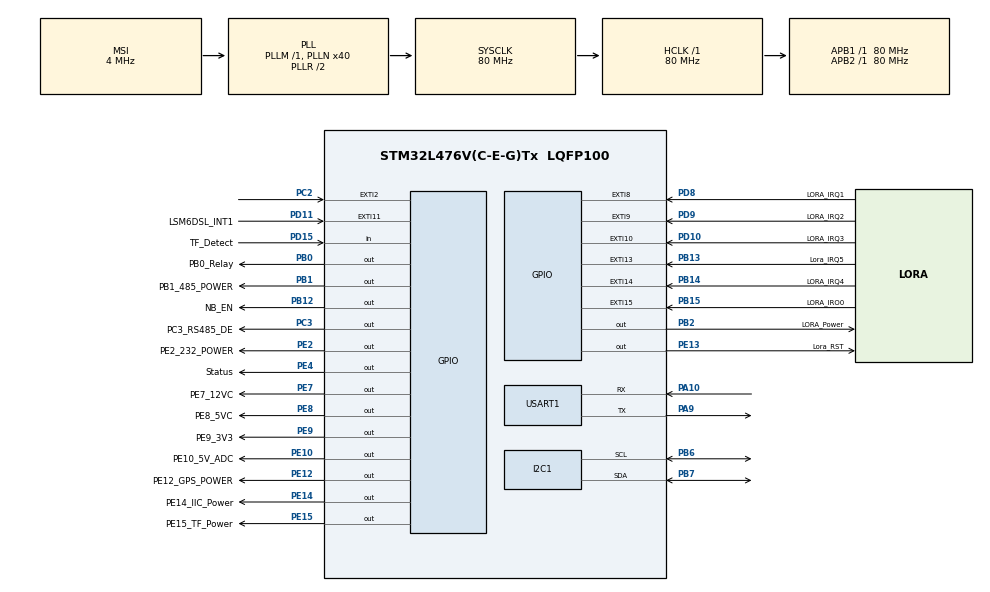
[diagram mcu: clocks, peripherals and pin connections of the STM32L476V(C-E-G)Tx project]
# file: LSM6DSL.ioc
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Mcu.Family=STM32L4
Mcu.Name=STM32L476V(C-E-G)Tx
Mcu.Package=LQFP100
NVIC.PriorityGroup=NVIC_PRIORITYGROUP_4
PA10.Mode=Asynchronous
PA10.Signal=USART1_RX
PA13\ (JTMS-SWDIO).Mode=Serial_Wire
PA13\ (JTMS-SWDIO).Signal=SYS_JTMS-SWDIO
PA14\ (JTCK-SWCLK).Mode=Serial_Wire
PA14\ (JTCK-SWCLK).Signal=SYS_JTCK-SWCLK
PA9.Mode=Asynchronous
PA9.Signal=USART1_TX
PB0.GPIO_Label=PB0_Relay
PB0.Signal=GPIO_Output
PB1.GPIO_Label=PB1_485_POWER
PB1.Signal=GPIO_Output
PB10.Signal=LPUART1_RX
PB11.Signal=LPUART1_TX
PB12.GPIO_Label=NB_EN
PB12.Signal=GPIO_Output
PB13.GPIO_Label=Lora_IRQ5
PB13.Signal=GPXTI13
PB14.GPIO_Label=LORA_IRQ4
PB14.Signal=GPXTI14
PB15.GPIO_Label=LORA_IRO0
PB15.Signal=GPXTI15
PB2.GPIO_Label=LORA_Power
PB2.Signal=GPIO_Output
PB6.Mode=I2C
PB6.Signal=I2C1_SCL
PB7.Mode=I2C
PB7.Signal=I2C1_SDA
PC14-OSC32_IN\ (PC14).Mode=LSE-External-Oscillator
PC14-OSC32_IN\ (PC14).Signal=RCC_OSC32_IN
PC15-OSC32_OUT\ (PC15).Mode=LSE-External-Oscillator
PC15-OSC32_OUT\ (PC15).Signal=RCC_OSC32_OUT
PC2.Signal=GPXTI2
PC3.GPIO_Label=PC3_RS485_DE
PC3.Signal=GPIO_Output
PD10.GPIO_Label=LORA_IRQ3
PD10.Signal=GPXTI10
PD11.GPIO_Label=LSM6DSL_INT1
PD11.Signal=GPXTI11
PD15.GPIO_Label=TF_Detect
PD15.Signal=GPIO_Input
PD8.GPIO_Label=LORA_IRQ1
PD8.Signal=GPXTI8
PD9.GPIO_Label=LORA_IRQ2
PD9.Signal=GPXTI9
PE10.GPIO_Label=PE10_5V_ADC
PE10.Signal=GPIO_Output
PE11.Signal=S_TIM1_CH2
PE12.GPIO_Label=PE12_GPS_POWER
PE12.Signal=GPIO_Output
PE13.GPIO_Label=Lora_RST
PE13.Signal=GPIO_Output
PE14.GPIO_Label=PE14_IIC_Power
PE14.Signal=GPIO_Output
PE15.GPIO_Label=PE15_TF_Power
PE15.Signal=GPIO_Output
PE2.GPIO_Label=PE2_232_POWER
PE2.Signal=GPIO_Output
PE4.GPIO_Label=Status
PE4.Signal=GPIO_Output
PE7.GPIO_Label=PE7_12VC
PE7.Signal=GPIO_Output
PE8.GPIO_Label=PE8_5VC
PE8.Signal=GPIO_Output
PE9.GPIO_Label=PE9_3V3
PE9.Signal=GPIO_Output
PH0-OSC_IN\ (PH0).Mode=HSE-External-Oscillator
PH0-OSC_IN\ (PH0).Signal=RCC_OSC_IN
PH1-OSC_OUT\ (PH1).Mode=HSE-External-Oscillator
PH1-OSC_OUT\ (PH1).Signal=RCC_OSC_OUT
ProjectManager.HeapSize=0x200
ProjectManager.StackSize=0x400
ProjectManager.TargetToolchain=MDK-ARM V5.27
RCC.ADCFreq_Value=48000000
RCC.AHBFreq_Value=80000000
RCC.APB1Freq_Value=80000000
RCC.APB1TimFreq_Value=80000000
RCC.APB2Freq_Value=80000000
RCC.APB2TimFreq_Value=80000000
RCC.CortexFreq_Value=80000000
RCC.HCLKFreq_Value=80000000
RCC.HSE_VALUE=8000000
RCC.HSI_VALUE=16000000
RCC.LPTIM1CLockSelection=RCC_LPTIM1CLKSOURCE_HSI
RCC.LPUART1CLockSelection=RCC_LPUART1CLKSOURCE_LSE
RCC.MSI_VALUE=4000000
RCC.PLLN=40
RCC.PLLSAI1N=24
RCC.RTCClockSelection=RCC_RTCCLKSOURCE_LSE
RCC.SYSCLKFreq_VALUE=80000000
RCC.SYSCLKSource=RCC_SYSCLKSOURCE_PLLCLK
RCC.USBFreq_Value=48000000
RCC.VCOOutputFreq_Value=160000000
SH.S_TIM1_CH2.0=TIM1_CH2
USART1.VirtualMode-Asynchronous=VM_ASYNC
board=custom

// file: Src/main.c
/* USER CODE BEGIN Header */
/**
  ******************************************************************************
  * @file           : main.c
  * @brief          : Main program body
  ******************************************************************************
  * @attention
  *
  * <h2><center>&copy; Copyright (c) 2020 STMicroelectronics.
  * All rights reserved.</center></h2>
  *
  * This software component is licensed by ST under BSD 3-Clause license,
  * the "License"; You may not use this file except in compliance with the
  * License. You may obtain a copy of the License at:
  *                        opensource.org/licenses/BSD-3-Clause
  *
  ******************************************************************************
  */
/* USER CODE END Header */

#include "main.h"

/* USER CODE BEGIN Includes */
#include <stdio.h>
#include <string.h>
#include "lsm6dsl_reg.h"
/* USER CODE END Includes */

I2C_HandleTypeDef hi2c1;

UART_HandleTypeDef huart1;

void SystemClock_Config(void);
static void MX_GPIO_Init(void);
static void MX_I2C1_Init(void);
static void MX_USART1_UART_Init(void);
/* USER CODE BEGIN PFP */
//extern void lsm6dsl_free_fall_detection(void);
extern uint8_t int1_flag;
extern char data_out[256];
extern stmdev_ctx_t dev_ctx;
lsm6dsl_all_sources_t lsm6dsl_all_sources;
void tx_com(uint8_t *tx_buffer, uint16_t len);
static void exti2_config(void);
static void SYSCLKConfig_STOP(void);
void BSP_LED_Init(void);
void power_3V3_ctr(void);
void power_i2c_ctr(void);
void power_232_ctr(void);
/* USER CODE END PFP */

int main(void)
{
  /* USER CODE BEGIN 1 */
	GPIO_InitTypeDef GPIO_InitStructure;
  /* USER CODE END 1 */

  /* MCU Configuration--------------------------------------------------------*/

  /* Reset of all peripherals, Initializes the Flash interface and the Systick. */
  HAL_Init();

  /* Configure the system clock */
  SystemClock_Config();

  /* Initialize all configured peripherals */
//  MX_GPIO_Init();
//  MX_I2C1_Init();
//  MX_USART1_UART_Init();
  /* USER CODE BEGIN 2 */
	MX_GPIO_Init();
//	lsm6dsl_exti_config();
	HAL_Delay(10);

  MX_USART1_UART_Init();
	HAL_GPIO_WritePin(GPIOE, PE2_232_POWER_Pin|PE9_3V3_Pin|PE14_IIC_Power_Pin, GPIO_PIN_SET); //在打开I2C电源和I2C初始化之间必须有延时
	printf("Open the 232 and lsm6dsl power\r\n");
	HAL_Delay(10);
	MX_I2C1_Init();

	example_main();
//	lsm6dsl_free_fall_detection();
	/* (External line 2) will be used to wakeup the system from STOP mode */
	exti2_config();
	/* Enable Power Clock */
  __HAL_RCC_PWR_CLK_ENABLE();

  /* Ensure that MSI is wake-up system clock */
  __HAL_RCC_WAKEUPSTOP_CLK_CONFIG(RCC_STOP_WAKEUPCLOCK_MSI);
  /* USER CODE END 2 */

  /* Infinite loop */
  while (1)
  {

    /* USER CODE BEGIN 3 */
		/* Insert 5 second delay */
    HAL_Delay(5000);
		__HAL_RCC_GPIOA_CLK_ENABLE();
		__HAL_RCC_GPIOB_CLK_ENABLE();
		__HAL_RCC_GPIOD_CLK_ENABLE();
		__HAL_RCC_GPIOE_CLK_ENABLE();
		__HAL_RCC_GPIOH_CLK_ENABLE();

		GPIO_InitStructure.Pin = GPIO_PIN_All;
		GPIO_InitStructure.Mode = GPIO_MODE_ANALOG;
		GPIO_InitStructure.Pull = GPIO_NOPULL;

		HAL_GPIO_Init(GPIOA, &GPIO_InitStructure);
		HAL_GPIO_Init(GPIOB, &GPIO_InitStructure);
		HAL_GPIO_Init(GPIOD, &GPIO_InitStructure);
		HAL_GPIO_Init(GPIOE, &GPIO_InitStructure);
		HAL_GPIO_Init(GPIOH, &GPIO_InitStructure);
		__HAL_RCC_GPIOA_CLK_DISABLE();
		__HAL_RCC_GPIOB_CLK_DISABLE();
		__HAL_RCC_GPIOD_CLK_DISABLE();
		__HAL_RCC_GPIOE_CLK_DISABLE();
		__HAL_RCC_GPIOH_CLK_DISABLE();

		__disable_irq();
		HAL_SuspendTick();
		/* Enter STOP 2 mode */
    HAL_PWREx_EnterSTOP2Mode(PWR_STOPENTRY_WFI);
		 /* ... STOP 2 mode ... */

    /* Re-configure the system clock to 80 MHz based on MSI, enable and
       select PLL as system clock source (PLL is disabled in STOP mode) */

		HAL_ResumeTick();
		SYSCLKConfig_STOP();
		__enable_irq();

		power_3V3_ctr();
		power_i2c_ctr();
		power_232_ctr();

//		HAL_Delay(100);
		HAL_UART_DeInit(&huart1);
		MX_USART1_UART_Init();
		HAL_GPIO_WritePin(GPIOE,PE2_232_POWER_Pin|PE9_3V3_Pin|PE14_IIC_Power_Pin, GPIO_PIN_SET);
		printf("退出Stop mode 2\r\n");
//		MX_I2C1_Init();
  }
  /* USER CODE END 3 */

}

void SystemClock_Config(void)
{
  RCC_OscInitTypeDef RCC_OscInitStruct = {0};
  RCC_ClkInitTypeDef RCC_ClkInitStruct = {0};
  RCC_PeriphCLKInitTypeDef PeriphClkInit = {0};

  /** Configure LSE Drive Capability
//  */
//  HAL_PWR_EnableBkUpAccess();
//  __HAL_RCC_LSEDRIVE_CONFIG(RCC_LSEDRIVE_LOW);
  /** Initializes the CPU, AHB and APB busses clocks
  */
  RCC_OscInitStruct.OscillatorType = RCC_OSCILLATORTYPE_MSI;
//  RCC_OscInitStruct.LSEState = RCC_LSE_ON;
  RCC_OscInitStruct.MSIState = RCC_MSI_ON;
  RCC_OscInitStruct.MSICalibrationValue = RCC_MSICALIBRATION_DEFAULT;
  RCC_OscInitStruct.MSIClockRange = RCC_MSIRANGE_6;
  RCC_OscInitStruct.PLL.PLLState = RCC_PLL_ON;
  RCC_OscInitStruct.PLL.PLLSource = RCC_PLLSOURCE_MSI;
  RCC_OscInitStruct.PLL.PLLM = 1;
  RCC_OscInitStruct.PLL.PLLN = 40;
  RCC_OscInitStruct.PLL.PLLP = RCC_PLLP_DIV7;
  RCC_OscInitStruct.PLL.PLLQ = RCC_PLLQ_DIV2;
  RCC_OscInitStruct.PLL.PLLR = RCC_PLLR_DIV2;
  if (HAL_RCC_OscConfig(&RCC_OscInitStruct) != HAL_OK)
  {
    Error_Handler();
  }
  /** Initializes the CPU, AHB and APB busses clocks
  */
  RCC_ClkInitStruct.ClockType = RCC_CLOCKTYPE_HCLK|RCC_CLOCKTYPE_SYSCLK
                              |RCC_CLOCKTYPE_PCLK1|RCC_CLOCKTYPE_PCLK2;
  RCC_ClkInitStruct.SYSCLKSource = RCC_SYSCLKSOURCE_PLLCLK;
  RCC_ClkInitStruct.AHBCLKDivider = RCC_SYSCLK_DIV1;
  RCC_ClkInitStruct.APB1CLKDivider = RCC_HCLK_DIV1;
  RCC_ClkInitStruct.APB2CLKDivider = RCC_HCLK_DIV1;

  if (HAL_RCC_ClockConfig(&RCC_ClkInitStruct, FLASH_LATENCY_4) != HAL_OK)
  {
    Error_Handler();
  }
//  PeriphClkInit.PeriphClockSelection = RCC_PERIPHCLK_USART1|RCC_PERIPHCLK_I2C1;
//  PeriphClkInit.Usart1ClockSelection = RCC_USART1CLKSOURCE_SYSCLK;   // RCC_USART1CLKSOURCE_PCLK2
//  PeriphClkInit.I2c1ClockSelection = RCC_I2C1CLKSOURCE_PCLK1;
//  if (HAL_RCCEx_PeriphCLKConfig(&PeriphClkInit) != HAL_OK)
//  {
//    Error_Handler();
//  }
//  /** Configure the main internal regulator output voltage
//  */
//  if (HAL_PWREx_ControlVoltageScaling(PWR_REGULATOR_VOLTAGE_SCALE1) != HAL_OK)
//  {
//    Error_Handler();
//  }
//  /** Enable MSI Auto calibration
//  */
//  HAL_RCCEx_EnableMSIPLLMode();
}

static void MX_I2C1_Init(void)
{

  hi2c1.Instance = I2C1;
  hi2c1.Init.Timing = 0x10909CEC;
  hi2c1.Init.OwnAddress1 = 0;
  hi2c1.Init.AddressingMode = I2C_ADDRESSINGMODE_7BIT;
  hi2c1.Init.DualAddressMode = I2C_DUALADDRESS_DISABLE;
  hi2c1.Init.OwnAddress2 = 0;
  hi2c1.Init.OwnAddress2Masks = I2C_OA2_NOMASK;
  hi2c1.Init.GeneralCallMode = I2C_GENERALCALL_DISABLE;
  hi2c1.Init.NoStretchMode = I2C_NOSTRETCH_DISABLE;
  if (HAL_I2C_Init(&hi2c1) != HAL_OK)
  {
    Error_Handler();
  }
  /** Configure Analogue filter
  */
  if (HAL_I2CEx_ConfigAnalogFilter(&hi2c1, I2C_ANALOGFILTER_ENABLE) != HAL_OK)
  {
    Error_Handler();
  }
  /** Configure Digital filter
  */
  if (HAL_I2CEx_ConfigDigitalFilter(&hi2c1, 0) != HAL_OK)
  {
    Error_Handler();
  }

}

static void MX_USART1_UART_Init(void)
{

  /* USER CODE BEGIN USART1_Init 0 */
	RCC_PeriphCLKInitTypeDef RCC_PeriphClkInit;
	/* 配置串口1时钟源*/
	RCC_PeriphClkInit.PeriphClockSelection = RCC_PERIPHCLK_USART1;
	RCC_PeriphClkInit.Usart1ClockSelection = RCC_USART1CLKSOURCE_SYSCLK;
	HAL_RCCEx_PeriphCLKConfig(&RCC_PeriphClkInit);
  /* USER CODE END USART1_Init 0 */

  huart1.Instance = USART1;
  huart1.Init.BaudRate = 115200;
  huart1.Init.WordLength = UART_WORDLENGTH_8B;
  huart1.Init.StopBits = UART_STOPBITS_1;
  huart1.Init.Parity = UART_PARITY_NONE;
  huart1.Init.Mode = UART_MODE_TX_RX;
  huart1.Init.HwFlowCtl = UART_HWCONTROL_NONE;
  huart1.Init.OverSampling = UART_OVERSAMPLING_16;
  huart1.Init.OneBitSampling = UART_ONE_BIT_SAMPLE_DISABLE;
  huart1.AdvancedInit.AdvFeatureInit = UART_ADVFEATURE_NO_INIT;
  if (HAL_UART_Init(&huart1) != HAL_OK)
  {
    Error_Handler();
  }
  /* USER CODE BEGIN USART1_Init 2 */
	 __HAL_UART_ENABLE_IT(&huart1,UART_IT_RXNE);
  /* USER CODE END USART1_Init 2 */

}

static void MX_GPIO_Init(void)
{
  GPIO_InitTypeDef GPIO_InitStruct = {0};

  /* GPIO Ports Clock Enable */
  __HAL_RCC_GPIOE_CLK_ENABLE();
  __HAL_RCC_GPIOC_CLK_ENABLE();
  __HAL_RCC_GPIOH_CLK_ENABLE();
  __HAL_RCC_GPIOB_CLK_ENABLE();
  __HAL_RCC_GPIOD_CLK_ENABLE();
  __HAL_RCC_GPIOA_CLK_ENABLE();

  /*Configure GPIO pin Output Level */
  HAL_GPIO_WritePin(GPIOE, PE2_232_POWER_Pin|Status_Pin|PE7_12VC_Pin|PE8_5VC_Pin
                          |PE9_3V3_Pin|PE10_5V_ADC_Pin|PE12_GPS_POWER_Pin|Lora_RST_Pin
                          |PE14_IIC_Power_Pin|PE15_TF_Power_Pin, GPIO_PIN_RESET);

  /*Configure GPIO pin Output Level */
  HAL_GPIO_WritePin(PC3_RS485_DE_GPIO_Port, PC3_RS485_DE_Pin, GPIO_PIN_RESET);

  /*Configure GPIO pin Output Level */
  HAL_GPIO_WritePin(GPIOB, PB0_Relay_Pin|PB1_485_POWER_Pin|LORA_Power_Pin|NB_EN_Pin, GPIO_PIN_RESET);

  /*Configure GPIO pins : PE2_232_POWER_Pin Status_Pin PE7_12VC_Pin PE8_5VC_Pin
                          PE9_3V3_Pin PE10_5V_ADC_Pin PE12_GPS_POWER_Pin Lora_RST_Pin
                          PE14_IIC_Power_Pin PE15_TF_Power_Pin */
  GPIO_InitStruct.Pin = PE2_232_POWER_Pin|Status_Pin|PE7_12VC_Pin|PE8_5VC_Pin
                          |PE9_3V3_Pin|PE10_5V_ADC_Pin|PE12_GPS_POWER_Pin|Lora_RST_Pin
                          |PE14_IIC_Power_Pin|PE15_TF_Power_Pin;
  GPIO_InitStruct.Mode = GPIO_MODE_OUTPUT_PP;
  GPIO_InitStruct.Pull = GPIO_NOPULL;
  GPIO_InitStruct.Speed = GPIO_SPEED_FREQ_LOW;
  HAL_GPIO_Init(GPIOE, &GPIO_InitStruct);

  /*Configure GPIO pin : PC2 */
//  GPIO_InitStruct.Pin = GPIO_PIN_2;
//  GPIO_InitStruct.Mode = GPIO_MODE_IT_RISING;
//  GPIO_InitStruct.Pull = GPIO_NOPULL;
//  HAL_GPIO_Init(GPIOC, &GPIO_InitStruct);

  /*Configure GPIO pin : PC3_RS485_DE_Pin */
  GPIO_InitStruct.Pin = PC3_RS485_DE_Pin;
  GPIO_InitStruct.Mode = GPIO_MODE_OUTPUT_PP;
  GPIO_InitStruct.Pull = GPIO_NOPULL;
  GPIO_InitStruct.Speed = GPIO_SPEED_FREQ_LOW;
  HAL_GPIO_Init(PC3_RS485_DE_GPIO_Port, &GPIO_InitStruct);

  /*Configure GPIO pins : PB0_Relay_Pin PB1_485_POWER_Pin LORA_Power_Pin NB_EN_Pin */
  GPIO_InitStruct.Pin = PB0_Relay_Pin|PB1_485_POWER_Pin|LORA_Power_Pin|NB_EN_Pin;
  GPIO_InitStruct.Mode = GPIO_MODE_OUTPUT_PP;
  GPIO_InitStruct.Pull = GPIO_NOPULL;
  GPIO_InitStruct.Speed = GPIO_SPEED_FREQ_LOW;
  HAL_GPIO_Init(GPIOB, &GPIO_InitStruct);

  /*Configure GPIO pin : PE11 */
  GPIO_InitStruct.Pin = GPIO_PIN_11;
  GPIO_InitStruct.Mode = GPIO_MODE_AF_PP;
  GPIO_InitStruct.Pull = GPIO_NOPULL;
  GPIO_InitStruct.Speed = GPIO_SPEED_FREQ_LOW;
  GPIO_InitStruct.Alternate = GPIO_AF1_TIM1;
  HAL_GPIO_Init(GPIOE, &GPIO_InitStruct);

  /*Configure GPIO pins : PB10 PB11 */
  GPIO_InitStruct.Pin = GPIO_PIN_10|GPIO_PIN_11;
  GPIO_InitStruct.Mode = GPIO_MODE_AF_PP;
  GPIO_InitStruct.Pull = GPIO_NOPULL;
  GPIO_InitStruct.Speed = GPIO_SPEED_FREQ_VERY_HIGH;
  GPIO_InitStruct.Alternate = GPIO_AF8_LPUART1;
  HAL_GPIO_Init(GPIOB, &GPIO_InitStruct);

  /*Configure GPIO pins : Lora_IRQ5_Pin LORA_IRQ4_Pin LORA_IRO0_Pin */
  GPIO_InitStruct.Pin = Lora_IRQ5_Pin|LORA_IRQ4_Pin|LORA_IRO0_Pin;
  GPIO_InitStruct.Mode = GPIO_MODE_IT_RISING;
  GPIO_InitStruct.Pull = GPIO_NOPULL;
  HAL_GPIO_Init(GPIOB, &GPIO_InitStruct);

  /*Configure GPIO pins : LORA_IRQ1_Pin LORA_IRQ2_Pin LORA_IRQ3_Pin LSM6DSL_INT1_Pin */
  GPIO_InitStruct.Pin = LORA_IRQ1_Pin|LORA_IRQ2_Pin|LORA_IRQ3_Pin;
  GPIO_InitStruct.Mode = GPIO_MODE_IT_RISING;
  GPIO_InitStruct.Pull = GPIO_NOPULL;
  HAL_GPIO_Init(GPIOD, &GPIO_InitStruct);

  /*Configure GPIO pin : TF_Detect_Pin */
  GPIO_InitStruct.Pin = TF_Detect_Pin;
  GPIO_InitStruct.Mode = GPIO_MODE_INPUT;
  GPIO_InitStruct.Pull = GPIO_NOPULL;
  HAL_GPIO_Init(TF_Detect_GPIO_Port, &GPIO_InitStruct);

}

/* USER CODE BEGIN 4 */
static void SYSCLKConfig_STOP(void)
{
  RCC_ClkInitTypeDef RCC_ClkInitStruct = {0};
  RCC_OscInitTypeDef RCC_OscInitStruct = {0};
  uint32_t pFLatency = 0;

  /* Enable Power Control clock */
  __HAL_RCC_PWR_CLK_ENABLE();      //RCC_APB1ENR->PWREN :Power interface clock enble

  /* Get the Oscillators configuration according to the internal RCC registers */
  HAL_RCC_GetOscConfig(&RCC_OscInitStruct);

  RCC_OscInitStruct.OscillatorType = RCC_OSCILLATORTYPE_NONE;   /*!< Oscillator configuration unchanged */
  RCC_OscInitStruct.PLL.PLLState = RCC_PLL_ON;
  if (HAL_RCC_OscConfig(&RCC_OscInitStruct) != HAL_OK)
  {
    Error_Handler();
  }

  /* Get the Clocks configuration according to the internal RCC registers */
  HAL_RCC_GetClockConfig(&RCC_ClkInitStruct, &pFLatency);

  /* Select PLL as system clock source and configure the HCLK, PCLK1 and PCLK2
     clocks dividers */
  RCC_ClkInitStruct.ClockType     = RCC_CLOCKTYPE_SYSCLK;
  RCC_ClkInitStruct.SYSCLKSource  = RCC_SYSCLKSOURCE_PLLCLK;
  if (HAL_RCC_ClockConfig(&RCC_ClkInitStruct, pFLatency) != HAL_OK)
  {
    Error_Handler();
  }
}

///重定向c库函数printf到串口DEBUG_USART，重定向后可使用printf函数
int fputc(int ch, FILE *f)
{
	/* 发送一个字节数据到串口DEBUG_USART */
	HAL_UART_Transmit(&huart1, (uint8_t *)&ch, 1, 1000);

	return (ch);
}

///重定向c库函数scanf到串口DEBUG_USART，重写向后可使用scanf、getchar等函数
int fgetc(FILE *f)
{

	int ch;
	HAL_UART_Receive(&huart1, (uint8_t *)&ch, 1, 1000);
	return (ch);
}
/*中断回调函数*/
void HAL_GPIO_EXTI_Callback(uint16_t GPIO_Pin)
{
  if (GPIO_Pin == LSM6DSL_INT1_Pin)
  {
    int1_flag = 1;
  }
	if (GPIO_Pin == GPIO_PIN_2)
  {
    /* Reconfigure LED2 */
    BSP_LED_Init();
    /* Switch on LED2 */
    HAL_GPIO_WritePin(GPIOE, Status_Pin, GPIO_PIN_SET);
  }
}
/*外部中断线2*/
static void exti2_config(void)
{

  GPIO_InitTypeDef GPIO_InitStruct;
  __HAL_RCC_GPIOC_CLK_ENABLE();
  GPIO_InitStruct.Pin = GPIO_PIN_2;
  GPIO_InitStruct.Mode = GPIO_MODE_IT_FALLING;//下降沿
  GPIO_InitStruct.Pull = GPIO_NOPULL;
  HAL_GPIO_Init(GPIOC, &GPIO_InitStruct);
  HAL_NVIC_SetPriority(EXTI2_IRQn,3,0);
  HAL_NVIC_EnableIRQ(EXTI2_IRQn);
}

void BSP_LED_Init(void)
{
  GPIO_InitTypeDef  GPIO_InitStruct = {0};

  /* Enable the GPIO_LED Clock */
    __HAL_RCC_GPIOE_CLK_ENABLE();

  /* Configure the GPIO_LED pin */
  GPIO_InitStruct.Pin   = Status_Pin;
  GPIO_InitStruct.Mode  = GPIO_MODE_OUTPUT_PP;
  GPIO_InitStruct.Pull  = GPIO_NOPULL;
  GPIO_InitStruct.Speed = GPIO_SPEED_FREQ_HIGH;
  HAL_GPIO_Init(GPIOE, &GPIO_InitStruct);
}
void power_3V3_ctr(void)
{
	GPIO_InitTypeDef GPIO_InitStruct = {0};
 /* GPIO Ports Clock Enable */
  __HAL_RCC_GPIOE_CLK_ENABLE();
	GPIO_InitStruct.Pin = PE9_3V3_Pin;
  GPIO_InitStruct.Mode = GPIO_MODE_OUTPUT_PP;
  GPIO_InitStruct.Pull = GPIO_NOPULL;
  GPIO_InitStruct.Speed = GPIO_SPEED_FREQ_LOW;
  HAL_GPIO_Init(GPIOE, &GPIO_InitStruct);

}
void power_i2c_ctr(void)
{
	GPIO_InitTypeDef GPIO_InitStruct = {0};
 /* GPIO Ports Clock Enable */
  __HAL_RCC_GPIOE_CLK_ENABLE();
	GPIO_InitStruct.Pin = PE14_IIC_Power_Pin;
  GPIO_InitStruct.Mode = GPIO_MODE_OUTPUT_PP;
  GPIO_InitStruct.Pull = GPIO_NOPULL;
  GPIO_InitStruct.Speed = GPIO_SPEED_FREQ_LOW;
  HAL_GPIO_Init(GPIOE, &GPIO_InitStruct);

}
void power_232_ctr(void)
{
	GPIO_InitTypeDef GPIO_InitStruct = {0};
 /* GPIO Ports Clock Enable */
  __HAL_RCC_GPIOE_CLK_ENABLE();
	GPIO_InitStruct.Pin = PE2_232_POWER_Pin;
  GPIO_InitStruct.Mode = GPIO_MODE_OUTPUT_PP;
  GPIO_InitStruct.Pull = GPIO_NOPULL;
  GPIO_InitStruct.Speed = GPIO_SPEED_FREQ_LOW;
  HAL_GPIO_Init(GPIOE, &GPIO_InitStruct);

}

/* USER CODE END 4 */

void Error_Handler(void)
{
}

/************************ (C) COPYRIGHT STMicroelectronics *****END OF FILE****/
